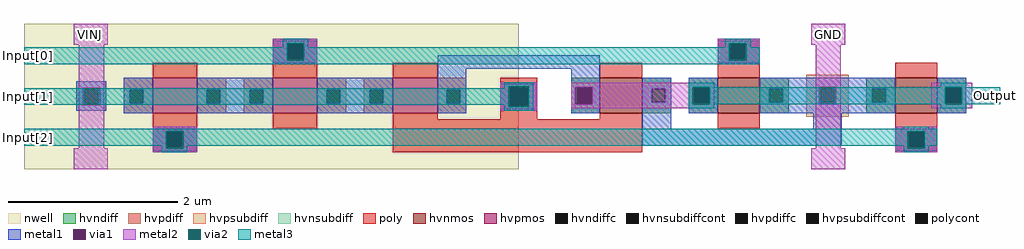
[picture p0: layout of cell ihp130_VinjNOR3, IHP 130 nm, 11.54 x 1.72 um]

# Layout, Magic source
magic
tech ihp-sg13g2
<< nwell >>
rect -404 138 181 310
<< hvnmos >>
rect 277 204 327 246
rect 416 204 466 246
rect 626 204 676 246
<< hvpmos >>
rect -252 204 -199 246
rect -110 204 -57 246
rect 32 204 85 246
<< hvndiff >>
rect 243 233 277 246
rect 243 217 250 233
rect 266 217 277 233
rect 243 204 277 217
rect 327 233 361 246
rect 327 217 338 233
rect 354 217 361 233
rect 327 204 361 217
rect 382 233 416 246
rect 382 217 389 233
rect 405 217 416 233
rect 382 204 416 217
rect 466 233 500 246
rect 466 217 477 233
rect 493 217 500 233
rect 466 204 500 217
rect 592 233 626 246
rect 592 217 599 233
rect 615 217 626 233
rect 592 204 626 217
rect 676 233 710 246
rect 676 217 687 233
rect 703 217 710 233
rect 676 204 710 217
<< hvpdiff >>
rect -286 232 -252 246
rect -286 216 -279 232
rect -263 216 -252 232
rect -286 204 -252 216
rect -199 232 -165 246
rect -199 216 -188 232
rect -172 216 -165 232
rect -199 204 -165 216
rect -144 232 -110 246
rect -144 216 -137 232
rect -121 216 -110 232
rect -144 204 -110 216
rect -57 232 -23 246
rect -57 216 -46 232
rect -30 216 -23 232
rect -57 204 -23 216
rect -2 232 32 246
rect -2 216 5 232
rect 21 216 32 232
rect -2 204 32 216
rect 85 232 119 246
rect 85 216 96 232
rect 112 216 119 232
rect 85 204 119 216
<< hvndiffc >>
rect 250 217 266 233
rect 338 217 354 233
rect 389 217 405 233
rect 477 217 493 233
rect 599 217 615 233
rect 687 217 703 233
<< hvpdiffc >>
rect -279 216 -263 232
rect -188 216 -172 232
rect -137 216 -121 232
rect -46 216 -30 232
rect 5 216 21 232
rect 96 216 112 232
<< hvpsubdiff >>
rect 521 233 571 250
rect 521 217 538 233
rect 554 217 571 233
rect 521 200 571 217
<< hvnsubdiff >>
rect -342 232 -307 242
rect -342 216 -332 232
rect -316 216 -307 232
rect -342 207 -307 216
<< hvpsubdiffcont >>
rect 538 217 554 233
<< hvnsubdiffcont >>
rect -332 216 -316 232
<< poly >>
rect -110 285 -57 292
rect -110 269 -91 285
rect -75 269 -57 285
rect -252 246 -199 264
rect -110 246 -57 269
rect 416 285 466 292
rect 416 269 432 285
rect 448 269 466 285
rect 32 246 85 264
rect 277 246 327 264
rect 416 246 466 269
rect 159 234 203 246
rect 159 214 171 234
rect 191 214 203 234
rect -252 181 -199 204
rect -110 186 -57 204
rect 32 197 85 204
rect 159 197 203 214
rect 626 246 676 264
rect 277 197 327 204
rect -252 165 -234 181
rect -218 165 -199 181
rect -252 158 -199 165
rect 32 158 327 197
rect 416 186 466 204
rect 626 181 676 204
rect 626 165 643 181
rect 659 165 676 181
rect 626 158 676 165
<< polycont >>
rect -91 269 -75 285
rect 432 269 448 285
rect 171 214 191 234
rect -234 165 -218 181
rect 643 165 659 181
<< metal1 >>
rect -110 287 -57 290
rect -110 267 -93 287
rect -73 267 -57 287
rect 416 287 466 290
rect -110 264 -57 267
rect 85 257 277 273
rect 416 267 430 287
rect 450 267 466 287
rect 416 264 466 267
rect -342 234 -307 242
rect -342 214 -334 234
rect -314 214 -307 234
rect -342 207 -307 214
rect -286 232 -252 246
rect -286 216 -279 232
rect -263 216 -252 232
rect -286 204 -252 216
rect -199 232 -110 246
rect -199 216 -188 232
rect -172 216 -137 232
rect -121 216 -110 232
rect -199 204 -110 216
rect -57 232 32 246
rect -57 216 -46 232
rect -30 216 5 232
rect 21 216 32 232
rect -57 204 32 216
rect 85 232 119 257
rect 85 216 96 232
rect 112 216 119 232
rect 85 204 119 216
rect 159 236 203 239
rect 159 212 169 236
rect 193 212 203 236
rect 159 209 203 212
rect 243 235 277 257
rect 243 215 248 235
rect 268 215 277 235
rect 243 204 277 215
rect 327 233 361 246
rect 327 217 338 233
rect 354 217 361 233
rect 327 186 361 217
rect 382 235 416 246
rect 382 215 387 235
rect 407 215 416 235
rect 382 204 416 215
rect 466 235 626 246
rect 466 233 536 235
rect 556 233 626 235
rect 466 217 477 233
rect 493 217 536 233
rect 556 217 599 233
rect 615 217 626 233
rect 466 215 536 217
rect 556 215 626 217
rect 466 204 626 215
rect 676 235 710 246
rect 676 215 685 235
rect 705 215 710 235
rect 676 204 710 215
rect 529 186 563 204
rect -252 183 -199 186
rect -252 163 -236 183
rect -216 163 -199 183
rect 327 166 563 186
rect 626 183 676 186
rect -252 160 -199 163
rect 626 163 641 183
rect 661 163 676 183
rect 626 160 676 163
<< via1 >>
rect -93 285 -73 287
rect -93 269 -91 285
rect -91 269 -75 285
rect -75 269 -73 285
rect -93 267 -73 269
rect 430 285 450 287
rect 430 269 432 285
rect 432 269 448 285
rect 448 269 450 285
rect 430 267 450 269
rect -334 232 -314 234
rect -334 216 -332 232
rect -332 216 -316 232
rect -316 216 -314 232
rect -334 214 -314 216
rect 169 234 193 236
rect 169 214 171 234
rect 171 214 191 234
rect 191 214 193 234
rect 169 212 193 214
rect 248 233 268 235
rect 248 217 250 233
rect 250 217 266 233
rect 266 217 268 233
rect 248 215 268 217
rect 387 233 407 235
rect 387 217 389 233
rect 389 217 405 233
rect 405 217 407 233
rect 387 215 407 217
rect 536 233 556 235
rect 536 217 538 233
rect 538 217 554 233
rect 554 217 556 233
rect 536 215 556 217
rect 685 233 705 235
rect 685 217 687 233
rect 687 217 703 233
rect 703 217 705 233
rect 685 215 705 217
rect -236 181 -216 183
rect -236 165 -234 181
rect -234 165 -218 181
rect -218 165 -216 181
rect -236 163 -216 165
rect 641 181 661 183
rect 641 165 643 181
rect 643 165 659 181
rect 659 165 661 181
rect 641 163 661 165
<< metal2 >>
rect -345 285 -305 310
rect -110 287 -57 292
rect -339 234 -309 285
rect -110 267 -93 287
rect -73 267 -57 287
rect -110 262 -57 267
rect 416 287 466 292
rect 416 267 430 287
rect 450 267 466 287
rect 527 285 567 310
rect 416 262 466 267
rect -339 214 -334 234
rect -314 214 -309 234
rect -339 163 -309 214
rect 159 236 203 241
rect 159 212 169 236
rect 193 212 203 236
rect 159 207 203 212
rect 243 235 412 240
rect 243 215 248 235
rect 268 215 387 235
rect 407 215 412 235
rect 243 210 412 215
rect 532 235 562 285
rect 532 215 536 235
rect 556 215 562 235
rect -252 183 -199 188
rect -252 163 -236 183
rect -216 163 -199 183
rect 532 163 562 215
rect 669 235 717 240
rect 669 215 685 235
rect 705 215 717 235
rect 669 210 717 215
rect 626 183 676 188
rect 626 163 641 183
rect 661 163 676 183
rect -345 138 -305 163
rect -252 158 -199 163
rect 527 138 567 163
rect 626 158 676 163
<< via2 >>
rect -93 267 -73 287
rect 430 267 450 287
rect 169 212 193 236
rect 387 215 407 235
rect -236 163 -216 183
rect 685 215 705 235
rect 641 163 661 183
<< metal3 >>
rect -98 287 -68 292
rect -98 282 -93 287
rect -404 267 -93 282
rect -73 282 -68 287
rect 425 287 455 292
rect 425 282 430 287
rect -73 267 430 282
rect 450 282 455 287
rect 450 267 466 282
rect -404 262 466 267
rect 164 236 198 241
rect 164 234 169 236
rect -404 214 169 234
rect 164 212 169 214
rect 193 212 198 236
rect 164 207 198 212
rect 382 235 412 240
rect 680 235 710 240
rect 382 215 387 235
rect 407 215 685 235
rect 705 215 750 235
rect 382 210 412 215
rect 680 210 710 215
rect 636 186 666 188
rect -404 183 676 186
rect -404 166 -236 183
rect -241 163 -236 166
rect -216 166 641 183
rect -216 163 -211 166
rect -241 158 -211 163
rect 636 163 641 166
rect 661 166 676 183
rect 661 163 666 166
rect 636 158 666 163
<< labels >>
flabel metal3 -404 262 -393 282 1 FreeSans 40 90 0 0 Input[0]
port 1 n
flabel metal3 -404 214 -393 234 1 FreeSans 40 90 0 0 Input[1]
port 2 n
flabel metal3 -404 166 -393 186 1 FreeSans 40 90 0 0 Input[2]
port 3 n
flabel metal2 -345 285 -305 310 1 FreeSans 40 0 0 0 VINJ
port 4 n
flabel metal2 527 285 567 310 1 FreeSans 40 0 0 0 GND
port 5 n
flabel metal3 739 215 750 235 1 FreeSans 40 90 0 0 Output
port 6 n
<< end >>
